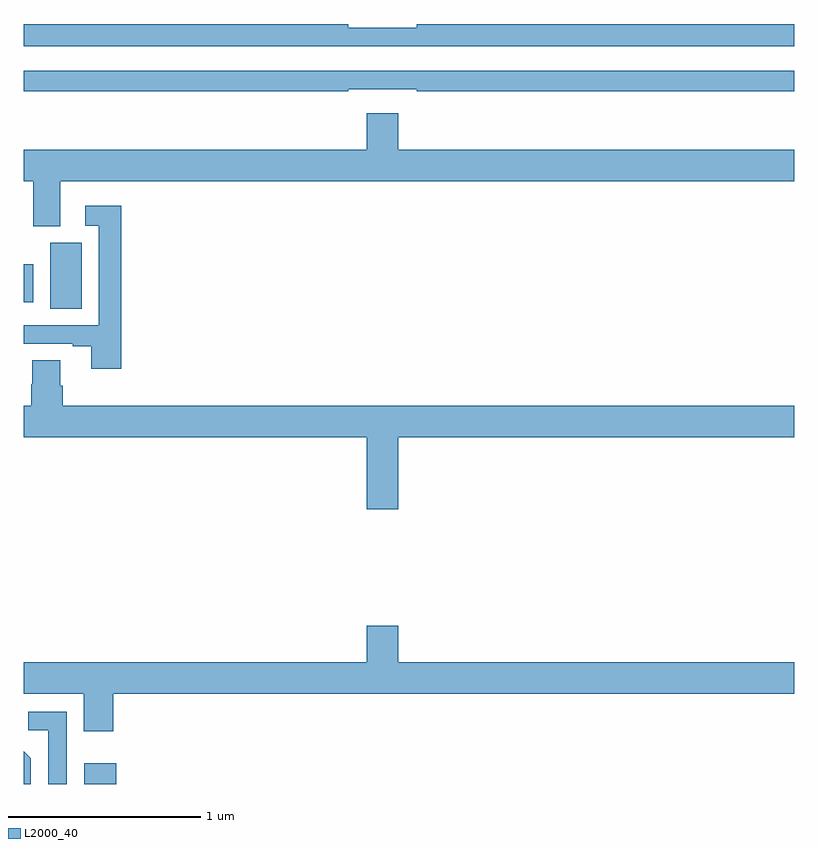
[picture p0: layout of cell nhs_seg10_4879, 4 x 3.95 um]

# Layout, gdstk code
import gdstk
lib = gdstk.Library(unit=1e-6, precision=1e-09)
def R(c, l, rs):  # rectangles x0, y0, x1, y1
    for r in rs: c.add(gdstk.rectangle(r[:2], r[2:], *l))
def P(c, l, *ps):  # polygons
    for p in ps: c.add(gdstk.Polygon(p, *l))
L2000_40 = (2000, 40)

nhs_seg10_4879 = lib.new_cell('nhs_seg10_4879')
R(nhs_seg10_4879, L2000_40, [(391.313,1314.5,391.48,1314.607), (391.136,1316.968,391.3,1317.312), (391,1317.003,391.048,1317.199)])
P(nhs_seg10_4879, L2000_40, [(395,1318.448),(393.04,1318.448),(393.04,1318.429),(392.684,1318.429),(392.684,1318.448),(391,1318.448),(391,1318.332),(395,1318.332)],
  [(392.684,1318.11),(393.04,1318.11),(393.04,1318.098),(395,1318.098),(395,1318.206),(391,1318.206),(391,1318.098),(392.684,1318.098)],
  [(391.189,1317.632),(395,1317.632),(395,1317.796),(392.944,1317.796),(392.944,1317.985),(392.78,1317.985),(392.78,1317.796),(391,1317.796),(391,1317.632),(391.049,1317.632),(391.049,1317.397),(391.189,1317.397)],
  [(391.505,1317.505),(391.317,1317.505),(391.317,1317.399),(391.389,1317.399),(391.389,1316.883),(391,1316.883),(391,1316.787),(391.253,1316.787),(391.253,1316.775),(391.349,1316.775),(391.349,1316.658),(391.505,1316.658)],
  [(392.944,1316.3),(395,1316.3),(395,1316.464),(391.202,1316.464),(391.202,1316.57),(391.189,1316.57),(391.189,1316.702),(391.042,1316.702),(391.042,1316.577),(391.037,1316.577),(391.037,1316.464),(391,1316.464),(391,1316.3),(392.78,1316.3),(392.78,1315.926),(392.944,1315.926)],
  [(391.463,1314.968),(395,1314.968),(395,1315.132),(392.944,1315.132),(392.944,1315.321),(392.78,1315.321),(392.78,1315.132),(391,1315.132),(391,1314.968),(391.31,1314.968),(391.31,1314.774),(391.463,1314.774)],
  [(391.221,1314.876),(391.023,1314.876),(391.023,1314.78),(391.125,1314.78),(391.125,1314.5),(391.221,1314.5)],
  [(391.035,1314.634),(391,1314.669),(391,1314.5),(391.035,1314.5)])

lib.write_gds('nhs_seg10_4879.gds')
